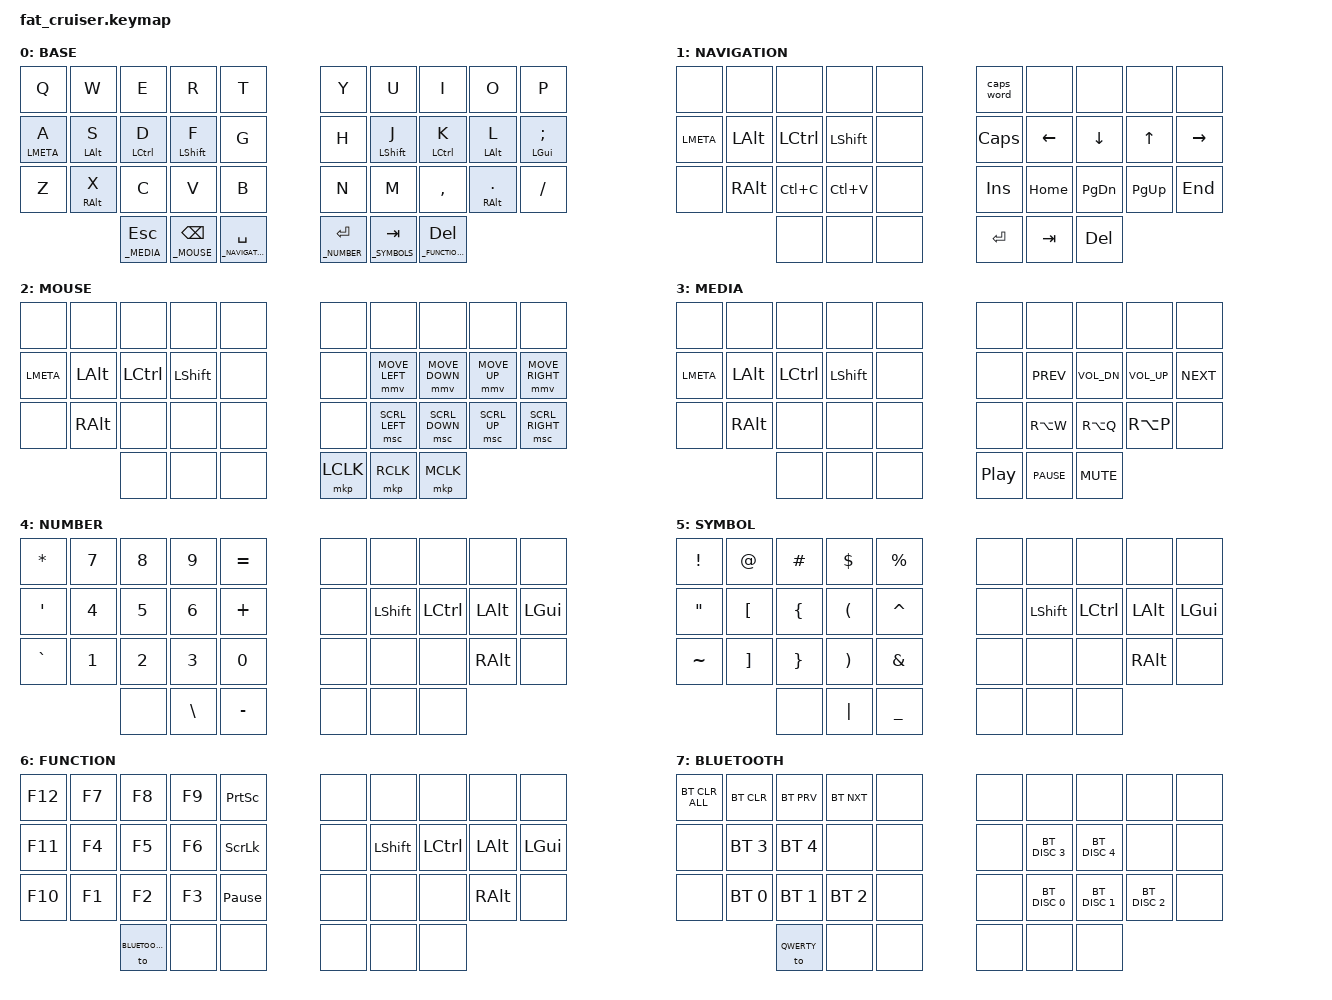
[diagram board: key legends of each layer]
#include <behaviors.dtsi>
#include <dt-bindings/zmk/keys.h> // &kp, &mt, &lt, &none
#include <dt-bindings/zmk/bt.h> // &bt BT_SEL, &bt BT_CLR
#include <dt-bindings/zmk/pointing.h> // &mmv, &mkp
#include <dt-bindings/zmk/outputs.h> // &out: Toggle between USB and BLE


#define _QWERTY 0
#define _NAVIGATION 1
#define _MOUSE 2
#define _MEDIA 3
#define _NUMBER 4
#define _SYMBOLS 5
#define _FUNCTION_KEYS 6
#define _GAMING 7
#define _GAMING_UTIL 8
#define _BLUETOOTH 9

&caps_word {
    // Define custom behavior for Caps Word to continue on specific keys
    continue-list = <UNDERSCORE MINUS BACKSPACE DELETE>;
};

&lt {
    tapping-term-ms = <300>; // 200 ms by default
};

/ {
    keymap {
        compatible = "zmk,keymap";

        /*  fat_cruiser v2 layout
         * ┌───┬───┬───┬───┬───┐   ┌───┬───┬───┬───┬───┐
         * │ Q │ W │ E │ R │ T │   │ Y │ U │ I │ O │ P │
         * ├───┼───┼───┼───┼───┤   ├───┼───┼───┼───┼───┤
         * │ A │ S │ D │ F │ G │   │ H │ J │ K │ L │ ; │
         * ├───┼───┼───┼───┼───┤   ├───┼───┼───┼───┼───┤
         * │ Z │ X │ C │ V │ B │   │ N │ M │ , │ . │ / │
         * └───┴───┼───┼───┼───┤   ├───┼───┼───┼───┴───┘
         *         │Esc│Bsc│Spc│   │Ent│Tab│Del│
         *         └───┴───┴───┘   └───┴───┴───┘
         */
         // Look up timeless home row mods: https://zmk.dev/docs/keymaps/behaviors/hold-tap?examples=home_row_mods
        default_layer {
            display-name = "BASE";
            bindings = <
&kp Q       &kp W      &kp E        &kp R        &kp T                 /**/ &kp Y        &kp U        &kp I       &kp O        &kp P
&mt LMETA A &mt LALT S &mt LCTRL D  &mt LSHIFT F &kp G                 /**/ &kp H        &mt LSHIFT J &mt LCTRL K &mt LALT L   &mt LGUI SEMICOLON
&kp Z       &mt RALT X &kp C        &kp V        &kp B                 /**/ &kp N        &kp M        &kp COMMA   &mt RALT DOT &kp SLASH
                       &lt _MEDIA ESC      &lt _MOUSE BSPC     &lt _NAVIGATION SPACE /**/ &lt _NUMBER ENTER    &lt _SYMBOLS TAB      &lt _FUNCTION_KEYS DEL
            >;
        };

        navigation_layer {
            display-name = "NAVIGATION";
            bindings = <
&none        &none        &none        &none        &none   /**/ &caps_word    &none    &none        &none        &none
&kp LMETA    &kp LALT     &kp LCTRL    &kp LSHIFT   &none   /**/ &kp CAPS     &kp LEFT &kp DOWN     &kp UP       &kp RIGHT
&none        &kp RALT     &kp LC(C)    &kp LC(V)    &none   /**/ &kp INS      &kp HOME &kp PG_DN    &kp PG_UP    &kp END
                          &none        &none        &none   /**/ &kp ENTER    &kp TAB  &kp DEL
            >;
        };

       /*  // https://zmk.dev/docs/keymaps/behaviors/mouse-emulation */
        mouse_layer {
            display-name = "MOUSE";
            bindings = <
&none        &none        &none        &none        &none   /**/ &none        &none    &none        &none        &none
&kp LMETA    &kp LALT     &kp LCTRL    &kp LSHIFT   &none   /**/ &none      &mmv MOVE_LEFT &mmv MOVE_DOWN &mmv MOVE_UP &mmv MOVE_RIGHT
&none        &kp RALT     &none        &none        &none   /**/ &none      &msc SCRL_LEFT &msc SCRL_DOWN &msc SCRL_UP &msc SCRL_RIGHT
                          &none        &none        &none   /**/ &mkp LCLK  &mkp RCLK &mkp MCLK
            >;
        };

        media_layer {
            display-name = "MEDIA";
            bindings = <
&none        &none        &none        &none        &none   /**/ &none              &none      &none        &none        &none
&kp LMETA    &kp LALT     &kp LCTRL    &kp LSHIFT   &none   /**/ &none             &kp C_PREV  &kp C_VOL_DN &kp C_VOL_UP &kp C_NEXT
&none        &kp RALT     &none        &none        &none   /**/ &none             &kp RA(W)   &kp RA(Q)    &kp RA(P)    &none
                          &none        &none        &none   /**/ &kp C_PLAY_PAUSE  &kp C_PAUSE &kp C_MUTE
            >;
        };

        number_layer {
            display-name = "NUMBER";
            bindings = <
&kp ASTERISK     &kp N7 &kp N8 &kp N9        &kp EQUAL /**/ &none &none      &none     &none        &none
&kp SINGLE_QUOTE &kp N4 &kp N5 &kp N6        &kp PLUS  /**/ &none &kp LSHIFT &kp LCTRL &kp LALT     &kp LGUI
&kp GRAVE        &kp N1 &kp N2 &kp N3        &kp N0    /**/ &none &none      &none     &kp RALT     &none
                        &none  &kp BACKSLASH &kp MINUS /**/ &none &none      &none
            >;
        };

        symbols_layer {
            display-name = "SYMBOL";
            bindings = <
&kp EXCLAMATION   &kp AT   &kp HASH &kp DOLLAR &kp PERCENT /**/ &none &none      &none     &none        &none
&kp DOUBLE_QUOTES &kp LBKT &kp LBRC &kp LPAR   &kp CARET   /**/ &none &kp LSHIFT &kp LCTRL &kp LALT     &kp LGUI
&kp TILDE         &kp RBKT &kp RBRC &kp RPAR   &kp AMPS    /**/ &none &none      &none     &kp RALT     &none
                           &none    &kp PIPE   &kp UNDER   /**/ &none &none      &none
            >;
        };

        function_keys_layer {
            display-name = "FUNCTION";
            bindings = <
&kp F12 &kp F7 &kp F8          &kp F9 &kp PRINTSCREEN /**/ &none &none      &none     &none        &none
&kp F11 &kp F4 &kp F5          &kp F6 &kp SCROLLLOCK  /**/ &none &kp LSHIFT &kp LCTRL &kp LALT     &kp LGUI
&kp F10 &kp F1 &kp F2          &kp F3 &kp PAUSE_BREAK /**/ &none &none      &none     &kp RALT     &none
               &to _BLUETOOTH  &none  &none           /**/ &none &none      &none
            >;
        };

        bluetooth_layer {
            display-name = "BLUETOOTH";
            bindings = <
&bt BT_CLR_ALL &bt BT_CLR &bt BT_PRV &bt BT_NXT       &none /**/ &none &none         &none         &none         &none
&none          &bt BT_SEL 3 &bt BT_SEL 4 &none        &none /**/ &none &bt BT_DISC 3 &bt BT_DISC 4 &none         &none
&none          &bt BT_SEL 0 &bt BT_SEL 1 &bt BT_SEL 2 &none /**/ &none &bt BT_DISC 0 &bt BT_DISC 1 &bt BT_DISC 2 &none
                            &to _QWERTY  &none        &none /**/ &none &none         &none
            >;
        };


       /**/
       /*  gaming_layer { */
       /*      display-name = "GAME"; */
       /*      bindings = < */
       /*          &none     &none     &none       &none       &none */
       /*          &none     &none     &none       &none       &none */
       /*      >; */
       /*  }; */
       /**/
       /*  gaming_util_layer { */
       /*      display-name = "G-UTIL"; */
       /*      bindings = < */
       /*          &none     &none     &none       &none       &none */
       /*          &none     &none     &none       &none       &none */
       /*      >; */
       /*  }; */
       /**/
       /*  bluetooth_layer { */
       /*      display-name = "BT"; */
       /*      bindings = < */
       /*          &bt BT_CLR_ALL     &bt BT_CLR     &none     &none     &out OUT_TOG */
       /*          &bt BT_SEL 0 &bt BT_SEL 1     &bt BT_SEL 2     &bt BT_SEL 3     &bt BT_SEL 4 */
       /*      >; */
       /*  }; */
    };
};
